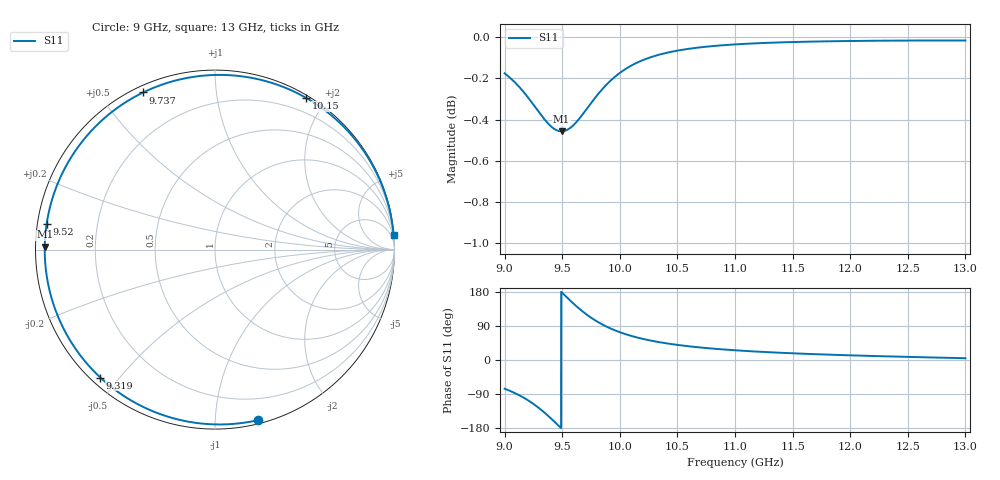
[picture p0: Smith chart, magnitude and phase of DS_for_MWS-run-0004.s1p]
! TOUCHSTONE file generated by CST DESIGN STUDIO
! Date and time: Tue Feb  4 14:05:35 2025
! Project name: C:\Work\MatlabApps\UnitCellOptimizationMatlab\CST\unitcell.cst
! Tree item: Tasks\Sweep1\SPara1\S-Parameters
! Header version: 2024
! Port assignment regex: !\s*Touchstone port\s*([0-9]+)\s*=\s*(CST MWS port|CST DES external port|CST DES block port)\s*(.+)\s* \(\"(.*)\"\)(\s*mode\s*([0-9]+))?.*
! Touchstone port assignment:
! Touchstone port 1 = CST DES external port 1 ("")
# GHz S MA R 50
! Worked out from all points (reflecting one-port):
!   4001 points, 9 GHz to 13 GHz, reference 50 ohm
!   lowest |S11| = -0.5 dB at 9.494 GHz (marker M1), VSWR 38.02, Z = 1.32 + j0.423 ohm
!   phase of S11 starts at -76 deg and turns -279 deg over the sweep
!   S11 on the Smith chart (normalised r, x): 9 GHz: 0.03, -1.28; 9.319 GHz: 0.03, -0.45; 9.52 GHz: 0.03, +0.08; 9.737 GHz: 0.03, +0.64; 10.15 GHz: 0.03, +1.76; 13 GHz: 1, +24
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9  0.9801 -75.8
9.083  0.9755 -86.4
9.183  0.9685 -102.6
9.254  0.9627 -116.7
9.319  0.9572 -131.9
9.365  0.9537 -143.8
9.414  0.9508 -157.4
9.455  0.9493 -169.4
9.494  0.9488 179.0
9.5  0.9488 177.2
9.52  0.949 171.3
9.573  0.9507 155.8
9.633  0.9544 139.3
9.684  0.9584 126.5
9.737  0.9628 114.5
9.79  0.9671 103.9
9.849  0.9715 93.6
9.924  0.9763 82.6
10  0.9803 73.4
10.154  0.9861 59.1
10.311  0.9898 48.8
10.5  0.9926 39.9
10.722  0.9946 32.4
11  0.9961 25.7
11.5  0.9974 17.7
12  0.998 12.3
12.5  0.9982 8.2
13  0.9982 4.7
